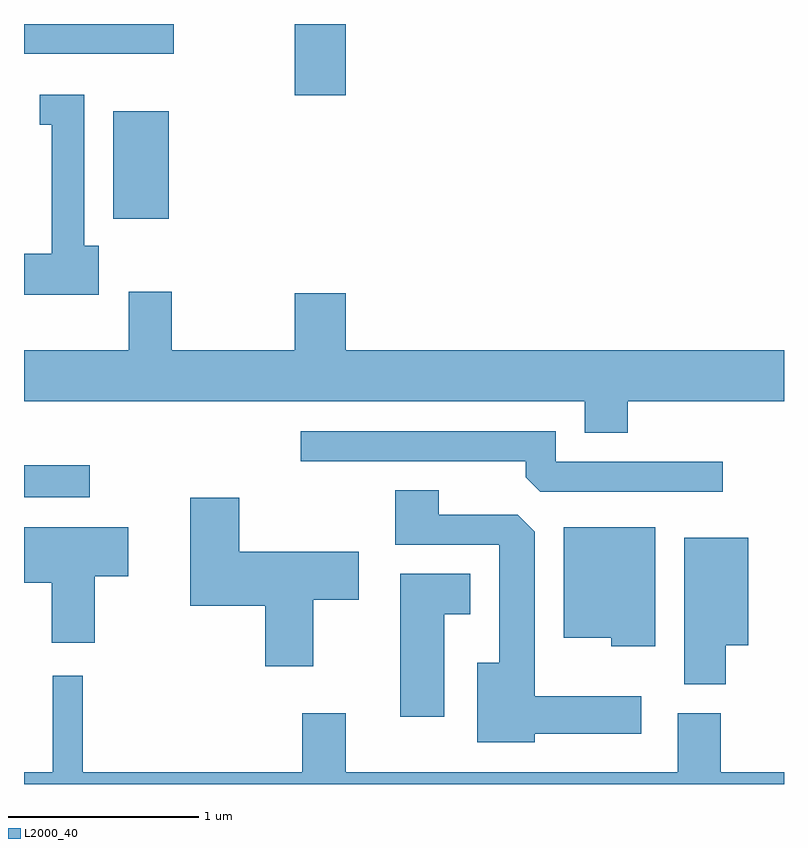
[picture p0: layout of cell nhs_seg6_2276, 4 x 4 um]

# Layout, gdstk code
import gdstk
lib = gdstk.Library(unit=1e-6, precision=1e-09)
def R(c, l, rs):  # rectangles x0, y0, x1, y1
    for r in rs: c.add(gdstk.rectangle(r[:2], r[2:], *l))
def P(c, l, *ps):  # polygons
    for p in ps: c.add(gdstk.Polygon(p, *l))
L2000_40 = (2000, 40)

nhs_seg6_2276 = lib.new_cell('nhs_seg6_2276')
R(nhs_seg6_2276, L2000_40, [(253.611,1631.671,253.958,1631.839), (254.081,1633.136,254.374,1633.704), (255.036,1633.786,255.304,1634.162), (253.611,1634.006,254.398,1634.162)])
P(nhs_seg6_2276, L2000_40, [(254.004,1632.994),(253.929,1632.994),(253.929,1633.789),(253.693,1633.789),(253.693,1633.631),(253.756,1633.631),(253.756,1632.954),(253.611,1632.954),(253.611,1632.736),(254.004,1632.736)],
  [(256.789,1632.176),(257.611,1632.176),(257.611,1632.444),(255.304,1632.444),(255.304,1632.744),(255.036,1632.744),(255.036,1632.444),(254.389,1632.444),(254.389,1632.754),(254.161,1632.754),(254.161,1632.444),(253.611,1632.444),(253.611,1632.176),(256.561,1632.176),(256.561,1632.011),(256.789,1632.011)],
  [(257.288,1631.859),(256.409,1631.859),(256.409,1632.019),(255.068,1632.019),(255.068,1631.861),(256.251,1631.861),(256.251,1631.777),(256.327,1631.701),(257.288,1631.701)],
  [(256.299,1630.426),(256.859,1630.426),(256.859,1630.624),(256.299,1630.624),(256.299,1631.489),(256.209,1631.579),(255.794,1631.579),(255.794,1631.709),(255.566,1631.709),(255.566,1631.421),(256.111,1631.421),(256.111,1630.799),(255.996,1630.799),(255.996,1630.381),(256.299,1630.381)],
  [(255.134,1631.131),(255.374,1631.131),(255.374,1631.384),(254.744,1631.384),(254.744,1631.669),(254.486,1631.669),(254.486,1631.101),(254.881,1631.101),(254.881,1630.781),(255.134,1630.781)],
  [(253.984,1631.256),(254.159,1631.256),(254.159,1631.514),(253.611,1631.514),(253.611,1631.221),(253.756,1631.221),(253.756,1630.906),(253.984,1630.906)],
  [(256.934,1631.514),(256.451,1631.514),(256.451,1630.931),(256.701,1630.931),(256.701,1630.886),(256.934,1630.886)],
  [(257.304,1630.891),(257.424,1630.891),(257.424,1631.459),(257.086,1631.459),(257.086,1630.686),(257.304,1630.686)],
  [(255.824,1631.056),(255.959,1631.056),(255.959,1631.269),(255.591,1631.269),(255.591,1630.516),(255.824,1630.516)],
  [(257.611,1630.224),(257.279,1630.224),(257.279,1630.534),(257.051,1630.534),(257.051,1630.224),(255.304,1630.224),(255.304,1630.534),(255.076,1630.534),(255.076,1630.224),(253.919,1630.224),(253.919,1630.733),(253.761,1630.733),(253.761,1630.224),(253.611,1630.224),(253.611,1630.162),(257.611,1630.162)])

lib.write_gds('nhs_seg6_2276.gds')
